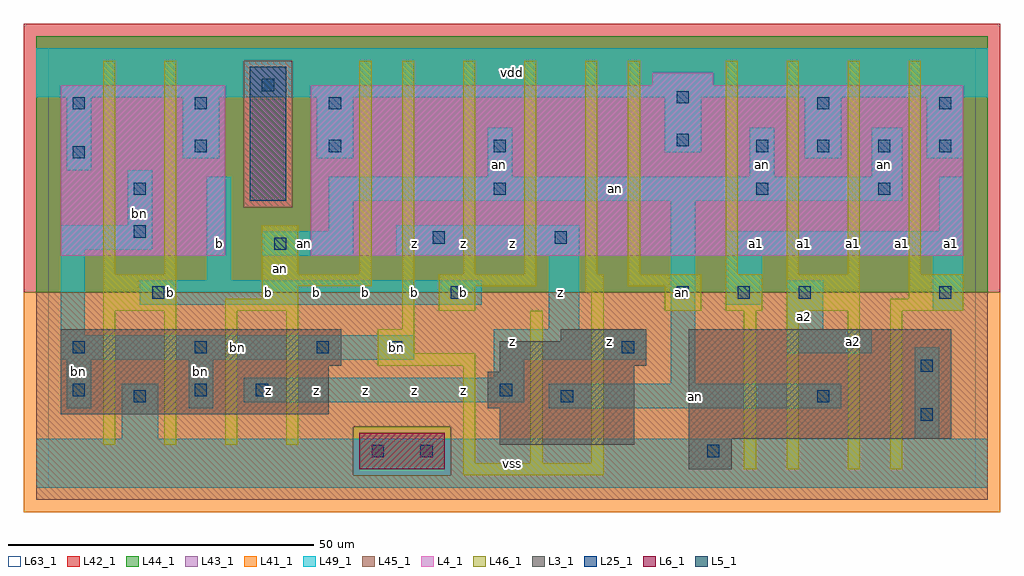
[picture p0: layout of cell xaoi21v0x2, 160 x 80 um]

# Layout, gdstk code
import gdstk
lib = gdstk.Library(unit=1e-6, precision=1e-09)
def R(c, l, rs):  # rectangles x0, y0, x1, y1
    for r in rs: c.add(gdstk.rectangle(r[:2], r[2:], *l))
def A(c, l, x, y, w, h, nx, ny, dx, dy):  # array of equal rectangles
    R(c, l, [(x+i*dx, y+j*dy, x+i*dx+w, y+j*dy+h) for i in range(nx) for j in range(ny)])
L3_1 = (3, 1)
L4_1 = (4, 1)
L5_1 = (5, 1)
L6_1 = (6, 1)
L25_1 = (25, 1)
L41_1 = (41, 1)
L42_1 = (42, 1)
L43_1 = (43, 1)
L44_1 = (44, 1)
L45_1 = (45, 1)
L46_1 = (46, 1)
L49_1 = (49, 1)
L63_1 = (63, 1)

xaoi21v0x2 = lib.new_cell('xaoi21v0x2')
R(xaoi21v0x2, L3_1, [(105,3,112,8), (74,7,96,13), (105,8,148,26), (2,12,46,20), (72,13,96,19), (74,19,96,20), (2,20,48,26), (74,20,98,24), (84,24,98,26)])
R(xaoi21v0x2, L4_1, [(2,38,29,66), (43,38,150,66), (99,66,109,68)])
R(xaoi21v0x2, L5_1, [(33,47,39,69)])
R(xaoi21v0x2, L6_1, [(51,3,65,9), (51,3,65,9)])
A(xaoi21v0x2, L25_1, 4, 22, 2, 2, 3, 1, 20, 0)
A(xaoi21v0x2, L25_1, 103, 31, 2, 2, 3, 1, 10, 0)
A(xaoi21v0x2, L25_1, 116, 55, 2, 2, 4, 1, 10, 0)
R(xaoi21v0x2, L25_1, [(53,5,55,7), (61,5,63,7), (108,5,110,7), (143,11,145,13), (14,14,16,16), (84,14,86,16), (126,14,128,16), (4,15,6,17), (24,15,26,17), (34,15,36,17), (74,15,76,17), (143,19,145,21), (56,22,58,24), (94,22,96,24), (17,31,19,33), (66,31,68,33), (146,31,148,33), (37,39,39,41), (63,40,65,42), (83,40,85,42), (14,41,16,43), (14,48,16,50), (73,48,75,50), (116,48,118,50), (136,48,138,50), (4,54,6,56), (24,55,26,57), (46,55,48,57), (73,55,75,57), (103,56,105,58), (4,62,6,64), (24,62,26,64), (46,62,48,64), (126,62,128,64), (146,62,148,64), (103,63,105,65), (35,65,37,67)])
R(xaoi21v0x2, L41_1, [(-4,-4,156,32)])
R(xaoi21v0x2, L42_1, [(-4,32,156,76)])
R(xaoi21v0x2, L43_1, [(51,3,65,9), (105,3,112,8), (74,7,96,13), (105,8,148,26), (2,12,46,20), (72,13,96,19), (74,19,96,20), (2,20,48,26), (74,20,98,24), (84,24,98,26), (2,38,29,66), (43,38,150,66), (33,47,39,69), (99,66,109,68)])
R(xaoi21v0x2, L44_1, [(50,2,66,10), (-2,32,154,46), (-2,46,32,70), (40,46,154,70), (-2,70,154,74)])
R(xaoi21v0x2, L45_1, [(-2,-2,154,2), (-2,2,50,10), (66,2,154,10), (-2,10,154,32), (32,46,40,70)])
A(xaoi21v0x2, L46_1, 9, 7, 2, 22, 4, 1, 10, 0)
A(xaoi21v0x2, L46_1, 68, 35, 2, 35, 3, 1, 10, 0)
A(xaoi21v0x2, L46_1, 111, 35, 2, 35, 4, 1, 10, 0)
R(xaoi21v0x2, L46_1, [(68,2,91,4), (114,3,116,29), (121,3,123,29), (131,3,133,29), (138,3,140,29), (68,4,70,20), (79,4,81,29), (89,4,91,32), (54,20,70,22), (54,22,60,26), (58,26,60,70), (9,29,21,35), (29,29,41,31), (64,29,70,33), (101,29,107,33), (111,29,117,35), (121,29,133,35), (138,29,150,31), (35,31,41,33), (141,31,150,35), (88,32,91,35), (35,33,53,35), (64,33,80,35), (95,33,107,35), (9,35,11,70), (19,35,21,70), (35,35,41,43), (51,35,53,70), (95,35,97,70)])
R(xaoi21v0x2, L49_1, [(-2,0,154,8), (12,8,18,17), (142,8,146,23), (3,13,7,21), (23,13,27,21), (82,13,130,17), (32,14,78,18), (102,17,106,47), (73,18,78,21), (2,21,60,25), (73,21,98,26), (121,22,135,26), (2,25,6,39), (82,26,87,38), (121,26,127,34), (145,29,150,38), (15,30,71,34), (111,30,117,38), (26,34,30,51), (35,38,50,42), (57,38,87,43), (111,38,150,42), (2,39,17,43), (46,42,50,47), (146,42,150,51), (13,43,17,52), (46,47,140,51), (72,51,76,59), (115,51,119,59), (135,51,140,59), (3,52,7,64), (22,54,28,64), (44,54,50,64), (124,54,130,64), (144,54,150,64), (101,55,107,64), (-2,64,154,72)])
R(xaoi21v0x2, L63_1, [(0,0,152,72)])
xaoi21v0x2.add(gdstk.Label('an', (38,36), layer=46, texttype=1))
xaoi21v0x2.add(gdstk.Label('bn', (57,23), layer=49, texttype=1))
xaoi21v0x2.add(gdstk.Label('an', (104,32), layer=49, texttype=1))
xaoi21v0x2.add(gdstk.Label('bn', (25,19), layer=49, texttype=1))
xaoi21v0x2.add(gdstk.Label('bn', (5,19), layer=49, texttype=1))
xaoi21v0x2.add(gdstk.Label('b', (20,32), layer=49, texttype=1))
xaoi21v0x2.add(gdstk.Label('bn', (15,45), layer=49, texttype=1))
xaoi21v0x2.add(gdstk.Label('z', (36,16), layer=49, texttype=1))
xaoi21v0x2.add(gdstk.Label('z', (44,16), layer=49, texttype=1))
xaoi21v0x2.add(gdstk.Label('z', (52,16), layer=49, texttype=1))
xaoi21v0x2.add(gdstk.Label('b', (36,32), layer=49, texttype=1))
xaoi21v0x2.add(gdstk.Label('b', (44,32), layer=49, texttype=1))
xaoi21v0x2.add(gdstk.Label('b', (52,32), layer=49, texttype=1))
xaoi21v0x2.add(gdstk.Label('b', (28,40), layer=49, texttype=1))
xaoi21v0x2.add(gdstk.Label('an', (42,40), layer=49, texttype=1))
xaoi21v0x2.add(gdstk.Label('vss', (76,4), layer=49, texttype=1))
xaoi21v0x2.add(gdstk.Label('z', (68,16), layer=49, texttype=1))
xaoi21v0x2.add(gdstk.Label('z', (60,16), layer=49, texttype=1))
xaoi21v0x2.add(gdstk.Label('bn', (31,23), layer=49, texttype=1))
xaoi21v0x2.add(gdstk.Label('z', (76,24), layer=49, texttype=1))
xaoi21v0x2.add(gdstk.Label('b', (68,32), layer=49, texttype=1))
xaoi21v0x2.add(gdstk.Label('z', (84,32), layer=49, texttype=1))
xaoi21v0x2.add(gdstk.Label('b', (60,32), layer=49, texttype=1))
xaoi21v0x2.add(gdstk.Label('z', (60,40), layer=49, texttype=1))
xaoi21v0x2.add(gdstk.Label('z', (68,40), layer=49, texttype=1))
xaoi21v0x2.add(gdstk.Label('z', (76,40), layer=49, texttype=1))
xaoi21v0x2.add(gdstk.Label('an', (74,53), layer=49, texttype=1))
xaoi21v0x2.add(gdstk.Label('vdd', (76,68), layer=49, texttype=1))
xaoi21v0x2.add(gdstk.Label('z', (92,24), layer=49, texttype=1))
xaoi21v0x2.add(gdstk.Label('a1', (116,40), layer=49, texttype=1))
xaoi21v0x2.add(gdstk.Label('an', (104,32), layer=49, texttype=1))
xaoi21v0x2.add(gdstk.Label('an', (117,53), layer=49, texttype=1))
xaoi21v0x2.add(gdstk.Label('an', (106,15), layer=49, texttype=1))
xaoi21v0x2.add(gdstk.Label('a2', (132,24), layer=49, texttype=1))
xaoi21v0x2.add(gdstk.Label('a2', (124,28), layer=49, texttype=1))
xaoi21v0x2.add(gdstk.Label('a1', (124,40), layer=49, texttype=1))
xaoi21v0x2.add(gdstk.Label('a1', (148,40), layer=49, texttype=1))
xaoi21v0x2.add(gdstk.Label('a1', (132,40), layer=49, texttype=1))
xaoi21v0x2.add(gdstk.Label('a1', (140,40), layer=49, texttype=1))
xaoi21v0x2.add(gdstk.Label('an', (93,49), layer=49, texttype=1))
xaoi21v0x2.add(gdstk.Label('an', (137,53), layer=49, texttype=1))

lib.write_gds('xaoi21v0x2.gds')
